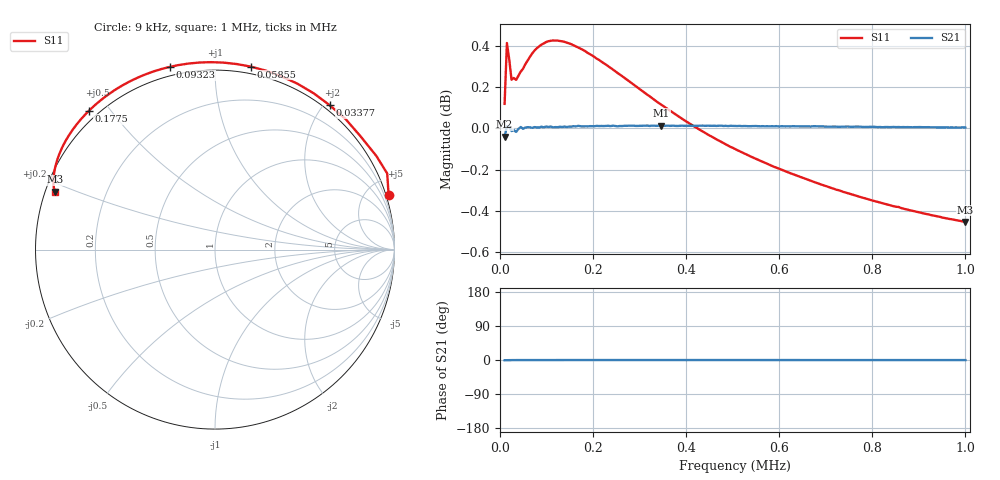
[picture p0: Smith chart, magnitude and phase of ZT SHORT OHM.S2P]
!Agilent Technologies,E5071C,MY46109397,A.09.54
!Date: Mon Jan 01 02:00:13 2001
!Data & Calibration Information:
!Freq	S11:SOLT1(ON)	S21:RESPT(ON)	S12:NONE(--)	S22:NONE(--)
# Hz S RI R 50
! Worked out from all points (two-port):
!   201 points, 9 kHz to 1 MHz, reference 50 ohm
!   highest |S21| = 0.01 dB at 345.9 kHz (marker M1); lowest = 0.0 dB at 9 kHz (marker M2)
!   |S21| within 3 dB of the highest: start of sweep to end of sweep
!   lowest |S11| = -0.5 dB at 1 MHz (marker M3), VSWR 38.23, Z = 1.35 + j8.73 ohm
!   |S11| at or under -10 dB: nowhere
!   S12 and S22 are empty: the file has one direction only
!   S11 on the Smith chart (normalised r, x): 9 kHz: -0.30, +6.51; 33.77 kHz: -0.07, +2.07; 58.55 kHz: -0.05, +1.22; 93.23 kHz: -0.04, +0.78; 177.5 kHz: -0.03, +0.44; 1 MHz: 0.03, +0.17
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9000  0.9672 0.3039  0.9953 -0.0108  0 0  0 0
13955  0.9595 0.424  1.001 -0.0105  0 0  0 0
18910  0.899 0.5218  1.001 -0.00655  0 0  0 0
28820  0.7289 0.7258  0.999 -0.00418  0 0  0 0
33775  0.6401 0.8038  0.998 -0.00379  0 0  0 0
43685  0.4599 0.9242  1.001 -0.00299  0 0  0 0
48640  0.37 0.9654  0.9998 -0.00216  0 0  0 0
58550  0.2007 1.019  1.001 -0.00194  0 0  0 0
73415  -0.0216 1.044  1.001 -0.00159  0 0  0 0
93235  -0.2524 1.018  1.001 -0.00115  0 0  0 0
108100  -0.3833 0.9778  1.001 -0.001  0 0  0 0
127920  -0.5136 0.9159  1.001 -0.000413  0 0  0 0
152695  -0.6272 0.8399  1.001 -0.000623  0 0  0 0
177470  -0.7043 0.7719  1.001 -0.000732  0 0  0 0
207200  -0.7663 0.7028  1.001 -0.000716  0 0  0 0
241885  -0.8131 0.6379  1.002 -0.000662  0 0  0 0
340985  -0.874 0.5146  1.002 -0.00114  0 0  0 0
345940  -0.8756 0.5101  1.002 -0.00112  0 0  0 0
504500  -0.8981 0.413  1.001 -0.00182  0 0  0 0
672970  -0.8999 0.3635  1.001 -0.00253  0 0  0 0
836485  -0.8965 0.3377  1.001 -0.00285  0 0  0 0
1000000  -0.8927 0.322  1 -0.00338  0 0  0 0
